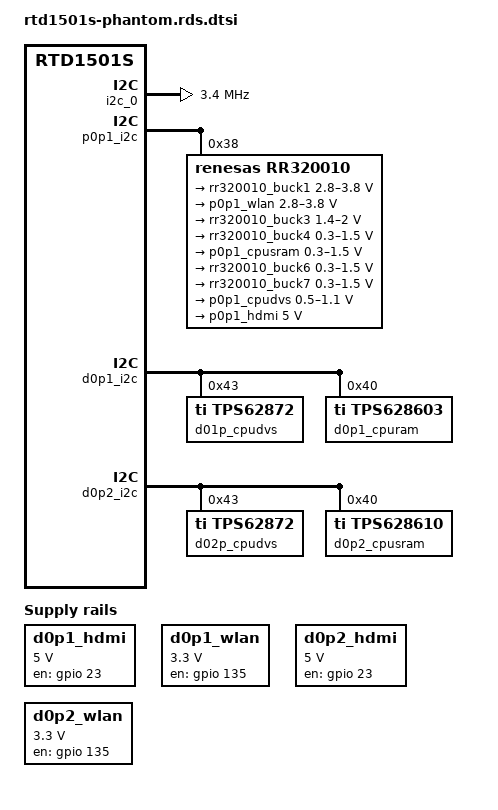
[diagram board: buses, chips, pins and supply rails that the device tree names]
// SPDX-License-Identifier: (GPL-2.0-or-later OR BSD-2-Clause)
/*
 * Copyright (c) 2024 Realtek Semiconductor Corp.
 */

#include <dt-bindings/regulator/rr320010-regulator.h>
#include <dt-bindings/regulator/ti,tps62860.h>

&i2c_0 {
	clock-frequency = <3400000>;
	pinctrl-0 = <&i2c0_HS_pins>;
	status = "okay";
};

&{/} {
	runtime-devices {
		compatible = "smallville-device-selector";
		#size-cells = <0>;
		#address-cells = <1>;
		i2c-adapter = <&i2c_0>;

		/* pmic */
		devices@0 {
			reg = <0>;

			p0p1_i2c: i2c-bus {
				#size-cells = <0>;
				#address-cells = <1>;
			};

			p0p1_platform: platform-bus {
			};
		};

		/* v0.1 discreate dcdc */
		devices@1 {
			reg = <1>;

			d0p1_i2c: i2c-bus {
				#size-cells = <0>;
				#address-cells = <1>;
			};

			d0p1_platform: platform-bus {
			};
		};

		/* v0.2 discreate dcdc */
		devices@2 {
			reg = <2>;

			d0p2_i2c: i2c-bus {
				#size-cells = <0>;
				#address-cells = <1>;
			};

			d0p2_platform: platform-bus {
			};
		};
	};
};

&p0p1_i2c {
	rr320010@38 {
		compatible = "renesas,rr320010";
		reg = <0x38>;

		rr320010_regulators: regulators {
			compatible = "renesas,rr320010-regulator";

			rr320010_buck1: buck1 {
				regulator-min-microvolt = <2800000>;
				regulator-max-microvolt = <3800000>;
				regulator-allowed-modes = <RR320010_MODE_AUTO>,
							  <RR320010_MODE_FORCE_PWM>;
				regulator-boot-on;
				regulator-always-on;
			};

			p0p1_wlan: buck2 {
				regulator-name = "wlan";
				regulator-min-microvolt = <2800000>;
				regulator-max-microvolt = <3800000>;
				regulator-allowed-modes = <RR320010_MODE_AUTO>,
							  <RR320010_MODE_FORCE_PWM>;
			};

			rr320010_buck3: buck3 {
				regulator-min-microvolt = <1400000>;
				regulator-max-microvolt = <2000000>;
				regulator-allowed-modes = <RR320010_MODE_AUTO>,
							  <RR320010_MODE_FORCE_PWM>;
				regulator-boot-on;
				regulator-always-on;
			};

			rr320010_buck4: buck4 {
				regulator-min-microvolt = <300000>;
				regulator-max-microvolt = <1500000>;
				regulator-allowed-modes = <RR320010_MODE_AUTO>,
							  <RR320010_MODE_FORCE_PWM>;
				regulator-boot-on;
				regulator-always-on;
			};

			p0p1_cpusram: buck5 {
				regulator-name = "cpusram";
				regulator-min-microvolt = <300000>;
				regulator-max-microvolt = <1500000>;
				regulator-allowed-modes = <RR320010_MODE_AUTO>,
							  <RR320010_MODE_FORCE_PWM>;
				regulator-boot-on;
				regulator-always-on;
				regulator-coupled-with = <&p0p1_cpudvs>;
				regulator-coupled-max-spread = <20000>;
				regulator-ramp-delay = <12500>;
			};

			rr320010_buck6: buck6 {
				regulator-min-microvolt = <300000>;
				regulator-max-microvolt = <1500000>;
				regulator-allowed-modes = <RR320010_MODE_AUTO>,
							  <RR320010_MODE_FORCE_PWM>;
				regulator-boot-on;
				regulator-always-on;
			};

			rr320010_buck7: buck7 {
				regulator-name = "ip";
				regulator-min-microvolt = <300000>;
				regulator-max-microvolt = <1500000>;
				regulator-allowed-modes = <RR320010_MODE_AUTO>,
							  <RR320010_MODE_FORCE_PWM>;
				regulator-boot-on;
				regulator-always-on;
			};

			p0p1_cpudvs: buck8 {
				regulator-name = "cpudvs";
				regulator-min-microvolt = <500000>;
				regulator-max-microvolt = <1100000>;
				regulator-allowed-modes = <RR320010_MODE_AUTO>,
							  <RR320010_MODE_FORCE_PWM>;
				regulator-boot-on;
				regulator-always-on;
				regulator-coupled-with = <&p0p1_cpusram>;
				regulator-coupled-max-spread = <20000>;
				regulator-ramp-delay = <25000>;
			};

			p0p1_hdmi: hdmi {
				regulator-name = "hdmi5v";
				regulator-min-microvolt = <5000000>;
				regulator-max-microvolt = <5000000>;
			};
		};
	};
};

&d0p1_i2c {
	d01p_cpudvs: tps62872@43 {
		compatible = "ti,tps62872";
		reg = <0x43>;
		regulator-name = "cpudvs";
		regulator-min-microvolt = <800000>;
		regulator-max-microvolt = <11000000>;
		regulator-boot-on;
		regulator-always-on;
		regulator-coupled-with = <&d0p1_cpuram>;
		regulator-coupled-max-spread = <20000>;
		regulator-ramp-delay = <1250>;
	};

	d0p1_cpuram: tps628603@40 {
		compatible = "ti,tps628603";
		reg = <0x40>;
		regulator-name = "cpusram";
		regulator-min-microvolt = <800000>;
		regulator-max-microvolt = <1100000>;
		regulator-allowed-modes = <TPS62860_MODE_NORMAL>, <TPS62860_MODE_FPWM>;
		regulator-boot-on;
		regulator-always-on;
		regulator-coupled-with = <&d01p_cpudvs>;
		regulator-coupled-max-spread = <20000>;
		regulator-ramp-delay = <10000>;
	};
};

&d0p1_platform {
	d0p1_hdmi: hdmi-supply {
		compatible = "regulator-fixed";
		regulator-name = "hdmi5v";
		regulator-min-microvolt = <5000000>;
		regulator-max-microvolt = <5000000>;
		enable-active-high;
		gpio = <&gpio 23 GPIO_ACTIVE_HIGH>;
	};

	d0p1_wlan: wlan-supply {
		compatible = "regulator-fixed";
		regulator-name = "wlan";
		regulator-min-microvolt = <3300000>;
		regulator-max-microvolt = <3300000>;
		enable-active-high;
		gpio = <&gpio 135 GPIO_ACTIVE_HIGH>;
	};
};

&d0p2_i2c {
	d02p_cpudvs: tps62872@43 {
		compatible = "ti,tps62872";
		reg = <0x43>;
		regulator-name = "cpudvs";
		regulator-min-microvolt = <800000>;
		regulator-max-microvolt = <11000000>;
		regulator-boot-on;
		regulator-always-on;
		regulator-coupled-with = <&d0p2_cpusram>;
		regulator-coupled-max-spread = <20000>;
		regulator-ramp-delay = <1250>;
	};

	d0p2_cpusram: tps628610@40 {
		compatible = "ti,tps628610";
		reg = <0x40>;
		regulator-name = "cpusram";
		regulator-min-microvolt = <800000>;
		regulator-max-microvolt = <1100000>;
		regulator-allowed-modes = <TPS62860_MODE_NORMAL>, <TPS62860_MODE_FPWM>;
		regulator-boot-on;
		regulator-always-on;
		regulator-coupled-with = <&d02p_cpudvs>;
		regulator-coupled-max-spread = <20000>;
		regulator-ramp-delay = <10000>;
		tps62860,vsel-high;
	};
};

&d0p2_platform {
	d0p2_hdmi: hdmi-supply {
		compatible = "regulator-fixed";
		regulator-name = "hdmi5v";
		regulator-min-microvolt = <5000000>;
		regulator-max-microvolt = <5000000>;
		enable-active-high;
		gpio = <&gpio 23 GPIO_ACTIVE_HIGH>;
	};

	d0p2_wlan: wlan-supply {
		compatible = "regulator-fixed";
		regulator-name = "wlan";
		regulator-min-microvolt = <3300000>;
		regulator-max-microvolt = <3300000>;
		enable-active-high;
		gpio = <&gpio 135 GPIO_ACTIVE_HIGH>;
	};
};


&{/} {
	cpu_supp: cpudvs-supply-alias {
		compatible = "regulator-supply-alias";

		supply-0 {
			compatible = "device-supply-alias-setter";
			cpu-supply = <&p0p1_cpudvs>;
			supply-name = "cpu";
			consumer-devices = <&cpu0>, <&cpu1>, <&cpu2>, <&cpu3>;
		};

		supply-1 {
			compatible = "device-supply-alias-setter";
			cpu-supply = <&d01p_cpudvs>;
			supply-name = "cpu";
			consumer-devices = <&cpu0>, <&cpu1>, <&cpu2>, <&cpu3>;
		};

		supply-2 {
			compatible = "device-supply-alias-setter";
			cpu-supply = <&d02p_cpudvs>;
			supply-name = "cpu";
			consumer-devices = <&cpu0>, <&cpu1>, <&cpu2>, <&cpu3>;
		};
	};

	hdmi_supp: hdmi-supply-alias {
		compatible = "regulator-supply-alias";

		supply-0 {
			compatible = "device-supply-alias-setter";
			supply-name = "hdmi";
			consumer-dev = <&hdmi>;
			hdmi-supply = <&p0p1_hdmi>;
		};

		supply-1 {
			compatible = "device-supply-alias-setter";
			supply-name = "hdmi";
			consumer-dev = <&hdmi>;
			hdmi-supply = <&d0p1_hdmi>;
		};

		supply-2 {
			compatible = "device-supply-alias-setter";
			supply-name = "hdmi";
			consumer-dev = <&hdmi>;
			hdmi-supply = <&d0p2_hdmi>;
		};
	};

	wlan_supp: wlan-supply-alias {
		compatible = "regulator-supply-alias";

		supply-pcie1-0 {
			supply-name = "device-power";
			consumer-dev = <&pcie1>;
			compatible = "device-supply-alias-setter";
			device-power-supply = <&p0p1_wlan>;
		};

		supply-pcie1-1 {
			supply-name = "device-power";
			consumer-dev = <&pcie1>;
			compatible = "device-supply-alias-setter";
			device-power-supply = <&d0p1_wlan>;
		};

		supply-pcie1-2 {
			supply-name = "device-power";
			consumer-dev = <&pcie1>;
			compatible = "device-supply-alias-setter";
			device-power-supply = <&d0p2_wlan>;
		};

		supply-sdio-0 {
			supply-name = "device-power";
			consumer-dev = <&sdio>;
			compatible = "device-supply-alias-setter";
			device-power-supply = <&p0p1_wlan>;
		};

		supply-sdio-1 {
			supply-name = "device-power";
			consumer-dev = <&sdio>;
			compatible = "device-supply-alias-setter";
			device-power-supply = <&d0p1_wlan>;
		};

		supply-sdio-2 {
			supply-name = "device-power";
			consumer-dev = <&sdio>;
			compatible = "device-supply-alias-setter";
			device-power-supply = <&d0p2_wlan>;
		};
	};
};
